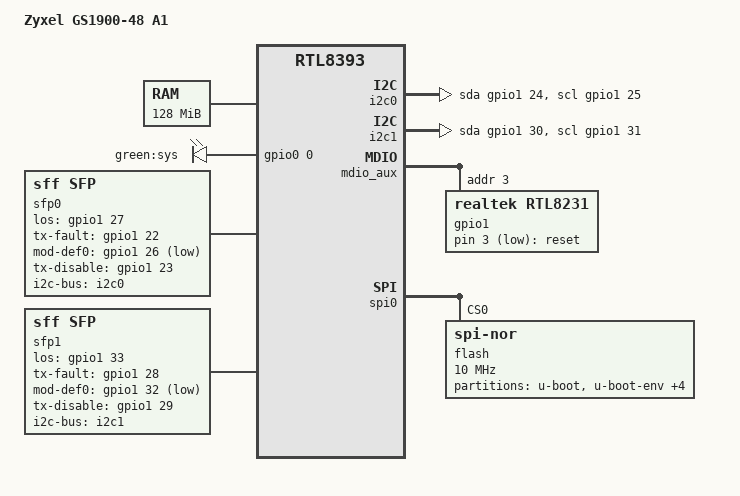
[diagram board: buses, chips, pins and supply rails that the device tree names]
/dts-v1/;

#include "rtl839x.dtsi"

#include <dt-bindings/input/input.h>
#include <dt-bindings/gpio/gpio.h>

/ {
	compatible = "zyxel,gs1900-48-a1", "realtek,rtl8393-soc";
	model = "Zyxel GS1900-48 A1";

	aliases {
		led-boot = &led_sys;
		led-failsafe = &led_sys;
		led-running = &led_sys;
		led-upgrade = &led_sys;
	};

	memory@0 {
		device_type = "memory";
		reg = <0x0 0x8000000>;
	};

	leds {
		pinctrl-names = "default";
		pinctrl-0 = <&pinmux_disable_sys_led>;
		compatible = "gpio-leds";

		led_sys: sys {
			label = "green:sys";
			gpios = <&gpio0 0 GPIO_ACTIVE_HIGH>;
		};
	};

	keys {
		compatible = "gpio-keys-polled";
		poll-interval = <20>;

		reset {
			label = "reset";
			gpios = <&gpio1 3 GPIO_ACTIVE_LOW>;
			linux,code = <KEY_RESTART>;
			debounce-interval = <100>;
		};
	};

	/* i2c of the left SFP cage: port 49 */
	i2c0: i2c-gpio-0 {
		compatible = "i2c-gpio";
		sda-gpios = <&gpio1 24 (GPIO_ACTIVE_HIGH | GPIO_OPEN_DRAIN)>;
		scl-gpios = <&gpio1 25 (GPIO_ACTIVE_HIGH | GPIO_OPEN_DRAIN)>;
		i2c-gpio,delay-us = <2>;
		#address-cells = <1>;
		#size-cells = <0>;
	};

	sfp0: sfp-p49 {
		compatible = "sff,sfp";
		i2c-bus = <&i2c0>;
		los-gpio = <&gpio1 27 GPIO_ACTIVE_HIGH>;
		tx-fault-gpio = <&gpio1 22 GPIO_ACTIVE_HIGH>;
		mod-def0-gpio = <&gpio1 26 GPIO_ACTIVE_LOW>;
		tx-disable-gpio = <&gpio1 23 GPIO_ACTIVE_HIGH>;
	};

	/* i2c of the right SFP cage: port 50 */
	i2c1: i2c-gpio-1 {
		compatible = "i2c-gpio";
		sda-gpios = <&gpio1 30 (GPIO_ACTIVE_HIGH | GPIO_OPEN_DRAIN)>;
		scl-gpios = <&gpio1 31 (GPIO_ACTIVE_HIGH | GPIO_OPEN_DRAIN)>;
		i2c-gpio,delay-us = <2>;
		#address-cells = <1>;
		#size-cells = <0>;
	};

	sfp1: sfp-p50 {
		compatible = "sff,sfp";
		i2c-bus = <&i2c1>;
		los-gpio = <&gpio1 33 GPIO_ACTIVE_HIGH>;
		tx-fault-gpio = <&gpio1 28 GPIO_ACTIVE_HIGH>;
		mod-def0-gpio = <&gpio1 32 GPIO_ACTIVE_LOW>;
		tx-disable-gpio = <&gpio1 29 GPIO_ACTIVE_HIGH>;
	};
};

&mdio_aux {
	status = "okay";

	gpio1: expander@3 {
		compatible = "realtek,rtl8231";
		reg = <3>;

		gpio-controller;
		#gpio-cells = <2>;
		gpio-ranges = <&gpio1 0 0 37>;

		led-controller {
			compatible = "realtek,rtl8231-leds";
			status = "disabled";
		};
	};
};

&spi0 {
	status = "okay";
	flash@0 {
		compatible = "jedec,spi-nor";
		reg = <0>;
		spi-max-frequency = <10000000>;

		partitions {
			compatible = "fixed-partitions";
			#address-cells = <1>;
			#size-cells = <1>;

			partition@0 {
				label = "u-boot";
				reg = <0x0 0x40000>;
				read-only;
			};
			partition@40000 {
				label = "u-boot-env";
				reg = <0x40000 0x10000>;
			};
			partition@50000 {
				label = "u-boot-env2";
				reg = <0x50000 0x10000>;
			};
			partition@60000 {
				label = "jffs";
				reg = <0x60000 0x100000>;
			};
			partition@160000 {
				label = "jffs2";
				reg = <0x160000 0x100000>;
			};
			partition@260000 {
				label = "firmware";
				reg = <0x260000 0xda0000>;
				compatible = "openwrt,uimage", "denx,uimage";
				openwrt,ih-magic = <0x83800000>;
			};
		};
	};
};

&mdio_bus0 {
	/* External phy RTL8218B #1 */
	EXTERNAL_PHY(0)
	EXTERNAL_PHY(1)
	EXTERNAL_PHY(2)
	EXTERNAL_PHY(3)
	EXTERNAL_PHY(4)
	EXTERNAL_PHY(5)
	EXTERNAL_PHY(6)
	EXTERNAL_PHY(7)

	/* External phy RTL8218B #2 */
	EXTERNAL_PHY(8)
	EXTERNAL_PHY(9)
	EXTERNAL_PHY(10)
	EXTERNAL_PHY(11)
	EXTERNAL_PHY(12)
	EXTERNAL_PHY(13)
	EXTERNAL_PHY(14)
	EXTERNAL_PHY(15)

	/* External phy RTL8218B #3 */
	EXTERNAL_PHY(16)
	EXTERNAL_PHY(17)
	EXTERNAL_PHY(18)
	EXTERNAL_PHY(19)
	EXTERNAL_PHY(20)
	EXTERNAL_PHY(21)
	EXTERNAL_PHY(22)
	EXTERNAL_PHY(23)

	/* External phy RTL8218B #4 */
	EXTERNAL_PHY(24)
	EXTERNAL_PHY(25)
	EXTERNAL_PHY(26)
	EXTERNAL_PHY(27)
	EXTERNAL_PHY(28)
	EXTERNAL_PHY(29)
	EXTERNAL_PHY(30)
	EXTERNAL_PHY(31)

	/* External phy RTL8218B #5 */
	EXTERNAL_PHY(32)
	EXTERNAL_PHY(33)
	EXTERNAL_PHY(34)
	EXTERNAL_PHY(35)
	EXTERNAL_PHY(36)
	EXTERNAL_PHY(37)
	EXTERNAL_PHY(38)
	EXTERNAL_PHY(39)

	/* External phy RTL8218B #6 */
	EXTERNAL_PHY(40)
	EXTERNAL_PHY(41)
	EXTERNAL_PHY(42)
	EXTERNAL_PHY(43)
	EXTERNAL_PHY(44)
	EXTERNAL_PHY(45)
	EXTERNAL_PHY(46)
	EXTERNAL_PHY(47)
};

&switch0 {
	ports {
		#address-cells = <1>;
		#size-cells = <0>;

		SWITCH_PORT_SDS(0, 1, 0, qsgmii)
		SWITCH_PORT_SDS(1, 2, 0, qsgmii)
		SWITCH_PORT_SDS(2, 3, 0, qsgmii)
		SWITCH_PORT_SDS(3, 4, 0, qsgmii)
		SWITCH_PORT_SDS(4, 5, 1, qsgmii)
		SWITCH_PORT_SDS(5, 6, 1, qsgmii)
		SWITCH_PORT_SDS(6, 7, 1, qsgmii)
		SWITCH_PORT_SDS(7, 8, 1, qsgmii)

		SWITCH_PORT_SDS(8, 9, 2, qsgmii)
		SWITCH_PORT_SDS(9, 10, 2, qsgmii)
		SWITCH_PORT_SDS(10, 11, 2, qsgmii)
		SWITCH_PORT_SDS(11, 12, 2, qsgmii)
		SWITCH_PORT_SDS(12, 13, 3, qsgmii)
		SWITCH_PORT_SDS(13, 14, 3, qsgmii)
		SWITCH_PORT_SDS(14, 15, 3, qsgmii)
		SWITCH_PORT_SDS(15, 16, 3, qsgmii)

		SWITCH_PORT_SDS(16, 17, 4, qsgmii)
		SWITCH_PORT_SDS(17, 18, 4, qsgmii)
		SWITCH_PORT_SDS(18, 19, 4, qsgmii)
		SWITCH_PORT_SDS(19, 20, 4, qsgmii)
		SWITCH_PORT_SDS(20, 21, 5, qsgmii)
		SWITCH_PORT_SDS(21, 22, 5, qsgmii)
		SWITCH_PORT_SDS(22, 23, 5, qsgmii)
		SWITCH_PORT_SDS(23, 24, 5, qsgmii)

		SWITCH_PORT_SDS(24, 25, 6, qsgmii)
		SWITCH_PORT_SDS(25, 26, 6, qsgmii)
		SWITCH_PORT_SDS(26, 27, 6, qsgmii)
		SWITCH_PORT_SDS(27, 28, 6, qsgmii)
		SWITCH_PORT_SDS(28, 29, 7, qsgmii)
		SWITCH_PORT_SDS(29, 30, 7, qsgmii)
		SWITCH_PORT_SDS(30, 31, 7, qsgmii)
		SWITCH_PORT_SDS(31, 32, 7, qsgmii)

		SWITCH_PORT_SDS(32, 33, 8, qsgmii)
		SWITCH_PORT_SDS(33, 34, 8, qsgmii)
		SWITCH_PORT_SDS(34, 35, 8, qsgmii)
		SWITCH_PORT_SDS(35, 36, 8, qsgmii)
		SWITCH_PORT_SDS(36, 37, 9, qsgmii)
		SWITCH_PORT_SDS(37, 38, 9, qsgmii)
		SWITCH_PORT_SDS(38, 39, 9, qsgmii)
		SWITCH_PORT_SDS(39, 40, 9, qsgmii)

		SWITCH_PORT_SDS(40, 41, 10, qsgmii)
		SWITCH_PORT_SDS(41, 42, 10, qsgmii)
		SWITCH_PORT_SDS(42, 43, 10, qsgmii)
		SWITCH_PORT_SDS(43, 44, 10, qsgmii)
		SWITCH_PORT_SDS(44, 45, 11, qsgmii)
		SWITCH_PORT_SDS(45, 46, 11, qsgmii)
		SWITCH_PORT_SDS(46, 47, 11, qsgmii)
		SWITCH_PORT_SDS(47, 48, 11, qsgmii)

		/* SFP cages */
		port@48 {
			reg = <48>;
			label = "lan49";
			pcs-handle = <&serdes12>;
			phy-mode = "1000base-x";
			managed = "in-band-status";
			sfp = <&sfp0>;
		};

		port@49 {
			reg = <49>;
			label = "lan50";
			pcs-handle = <&serdes13>;
			phy-mode = "1000base-x";
			managed = "in-band-status";
			sfp = <&sfp1>;
		};

		/* CPU-Port */
		port@52 {
			ethernet = <&ethernet0>;
			reg = <52>;
			phy-mode = "internal";
			fixed-link {
				speed = <1000>;
				full-duplex;
			};
		};
	};
};
